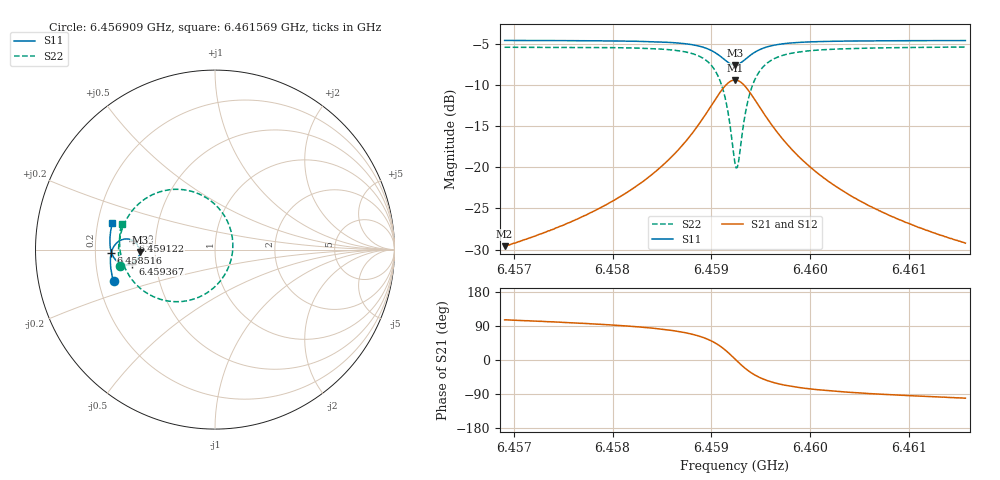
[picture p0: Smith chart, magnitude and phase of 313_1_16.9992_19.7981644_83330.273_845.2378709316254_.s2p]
#  HZ  S  RI  R  50.00
! Rohde & Schwarz Vector Network Analyzer
! Rohde-Schwarz,ZNB20-2Port,1311601062101988,3.16
! Created: UTC 3/20/2024, 11:06:05 PM
! freq[Hz]  re:S11  im:S11  re:S21  im:S21  re:S12  im:S12  re:S22  im:S22
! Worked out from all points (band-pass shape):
!   401 points, 6.456909 GHz to 6.461569 GHz, reference 50 ohm
!   highest |S21| = -9.36 dB at 6.459239 GHz (marker M1); lowest = -29.6 dB at 6.456909 GHz (marker M2)
!   |S21| within 3 dB of the highest: 6.459005 GHz to 6.459471 GHz (465.9 kHz wide, 0.00721 % of centre)
!   lowest |S11| = -7.5 dB at 6.459239 GHz (marker M3), VSWR 2.45, Z = 20.4 - j0.635 ohm
!   |S11| at or under -10 dB: nowhere
!   |S22| runs from -20.1 to -5.4 dB; largest |S21 - S12| = 0.013
!   S11 on the Smith chart (normalised r, x): 6.456909 GHz: 0.26, -0.14; 6.458516 GHz: 0.27, -0.02; 6.459122 GHz: 0.37, +0.05; 6.459367 GHz: 0.37, -0.07; 6.461569 GHz: 0.26, +0.12
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6.4569087e9  -0.5649 -0.1775  -0.00906 0.0319  -0.00739 0.0318  -0.5308 -0.0895
6.4576893e9  -0.5798 -0.1096  -0.006 0.0496  -0.00345 0.0491  -0.5373 0.000407
6.4581203e9  -0.5831 -0.0668  -0.00017 0.0688  0.00305 0.0675  -0.5297 0.0677
6.4584698e9  -0.5797 -0.0254  0.0134 0.0973  0.0174 0.0948  -0.5052 0.1447
6.4585164e9  -0.5783 -0.019  0.0166 0.1028  0.0205 0.0997  -0.499 0.1578
6.4587261e9  -0.5664 0.0129  0.0423 0.1341  0.0465 0.1294  -0.4513 0.2287
6.4588775e9  -0.5454 0.0393  0.0843 0.1643  0.0877 0.1578  -0.374 0.2923
6.459029e9  -0.4996 0.0592  0.175 0.1835  0.1761 0.1759  -0.2089 0.3359
6.4591222e9  -0.4555 0.0493  0.2639 0.1528  0.2641 0.1468  -0.0454 0.2869
6.4591688e9  -0.4344 0.0308  0.307 0.1104  0.3083 0.1052  0.036 0.212
6.4592387e9  -0.4195 -0.0128  0.34 0.0152  0.3434 0.00825  0.0993 0.0358
6.4592503e9  -0.42 -0.0208  0.3398 -0.00228  0.3434 -0.0101  0.0991 0.00296
6.4592736e9  -0.4235 -0.0363  0.3344 -0.0365  0.3379 -0.0456  0.0883 -0.0612
6.4593319e9  -0.444 -0.067  0.2968 -0.1076  0.2981 -0.1197  0.0127 -0.194
6.4593668e9  -0.4606 -0.0781  0.2652 -0.136  0.2641 -0.149  -0.0514 -0.2451
6.45946e9  -0.5035 -0.0848  0.1819 -0.167  0.1757 -0.1782  -0.2162 -0.2903
6.4596115e9  -0.547 -0.0644  0.0954 -0.1537  0.0871 -0.1597  -0.3801 -0.2422
6.4597746e9  -0.5684 -0.0369  0.0511 -0.1266  0.0437 -0.1291  -0.4591 -0.1716
6.4600192e9  -0.581 -0.00131  0.0223 -0.0956  0.0167 -0.0961  -0.5064 -0.0907
6.4603571e9  -0.5856 0.0386  0.00673 -0.0698  0.00269 -0.0695  -0.5272 -0.0146
6.4607997e9  -0.5838 0.0829  -0.00131 -0.051  -0.00407 -0.0503  -0.5317 0.0553
6.4615686e9  -0.5716 0.1509  -0.00643 -0.034  -0.00803 -0.0331  -0.5201 0.1449
